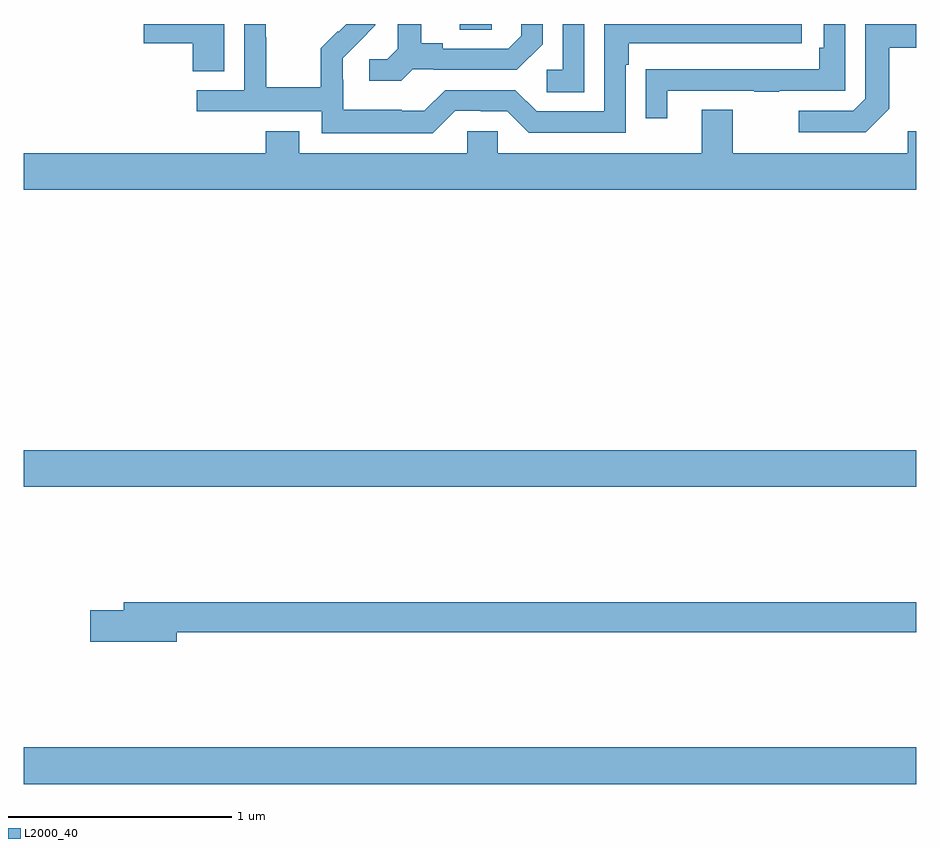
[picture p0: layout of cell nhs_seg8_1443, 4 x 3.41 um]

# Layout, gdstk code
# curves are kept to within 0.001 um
import gdstk
lib = gdstk.Library(unit=1e-6, precision=1e-09)
def R(c, l, rs):  # rectangles x0, y0, x1, y1
    for r in rs: c.add(gdstk.rectangle(r[:2], r[2:], *l))
def P(c, l, *ps):  # polygons
    for p in ps: c.add(gdstk.Polygon(p, *l))
L2000_40 = (2000, 40)

nhs_seg8_1443 = lib.new_cell('nhs_seg8_1443')
R(nhs_seg8_1443, L2000_40, [(203,1124.492,207,1124.656), (203,1125.824,207,1125.988), (204.953,1127.875,205.098,1127.9)])
P(nhs_seg8_1443, L2000_40, [(205.885,1127.601),(206.275,1127.601),(206.275,1127.596),(206.387,1127.596),(206.387,1127.601),(206.682,1127.601),(206.682,1127.9),(206.586,1127.9),(206.586,1127.794),(206.566,1127.794),(206.566,1127.697),(205.891,1127.697),(205.891,1127.696),(205.789,1127.696),(205.789,1127.478),(205.885,1127.478)],
  [(203.899,1127.9),(203.538,1127.9),(203.538,1127.813),(203.756,1127.813),(203.756,1127.689),(203.899,1127.689)],
  [(205.512,1127.9),(205.416,1127.9),(205.416,1127.694),(205.344,1127.694),(205.344,1127.593),(205.512,1127.593)],
  [(204.933,1127.511),(205.049,1127.511),(205.049,1127.508),(205.167,1127.508),(205.263,1127.412),(205.698,1127.412),(205.698,1127.717),(205.711,1127.717),(205.711,1127.814),(206.488,1127.814),(206.488,1127.9),(205.602,1127.9),(205.602,1127.508),(205.299,1127.508),(205.203,1127.604),(204.888,1127.604),(204.795,1127.511),(204.695,1127.511),(204.695,1127.515),(204.432,1127.515),(204.432,1127.649),(204.43,1127.649),(204.43,1127.746),(204.576,1127.894),(204.576,1127.9),(204.446,1127.9),(204.411,1127.865),(204.408,1127.868),(204.331,1127.791),(204.331,1127.617),(204.087,1127.617),(204.087,1127.84),(204.084,1127.84),(204.084,1127.9),(203.988,1127.9),(203.988,1127.604),(203.775,1127.604),(203.775,1127.508),(204.336,1127.508),(204.336,1127.411),(204.833,1127.411)],
  [(206.881,1127.521),(206.881,1127.794),(207,1127.794),(207,1127.9),(206.772,1127.9),(206.772,1127.565),(206.718,1127.511),(206.475,1127.511),(206.475,1127.415),(206.775,1127.415)],
  [(204.744,1127.697),(204.838,1127.697),(204.838,1127.694),(205.21,1127.694),(205.326,1127.81),(205.326,1127.9),(205.229,1127.9),(205.229,1127.847),(205.172,1127.79),(204.877,1127.79),(204.877,1127.813),(204.781,1127.813),(204.781,1127.9),(204.677,1127.9),(204.677,1127.789),(204.63,1127.742),(204.549,1127.742),(204.549,1127.645),(204.692,1127.645)],
  [(207,1127.419),(206.963,1127.419),(206.963,1127.32),(206.179,1127.32),(206.179,1127.515),(206.039,1127.515),(206.039,1127.32),(205.125,1127.32),(205.125,1127.418),(204.987,1127.418),(204.987,1127.32),(204.235,1127.32),(204.235,1127.419),(204.083,1127.419),(204.083,1127.32),(203,1127.32),(203,1127.156),(207,1127.156)],
  [(203.686,1125.172),(207,1125.172),(207,1125.308),(203.447,1125.308),(203.447,1125.272),(203.298,1125.272),(203.298,1125.13),(203.686,1125.13)])

lib.write_gds('nhs_seg8_1443.gds')
